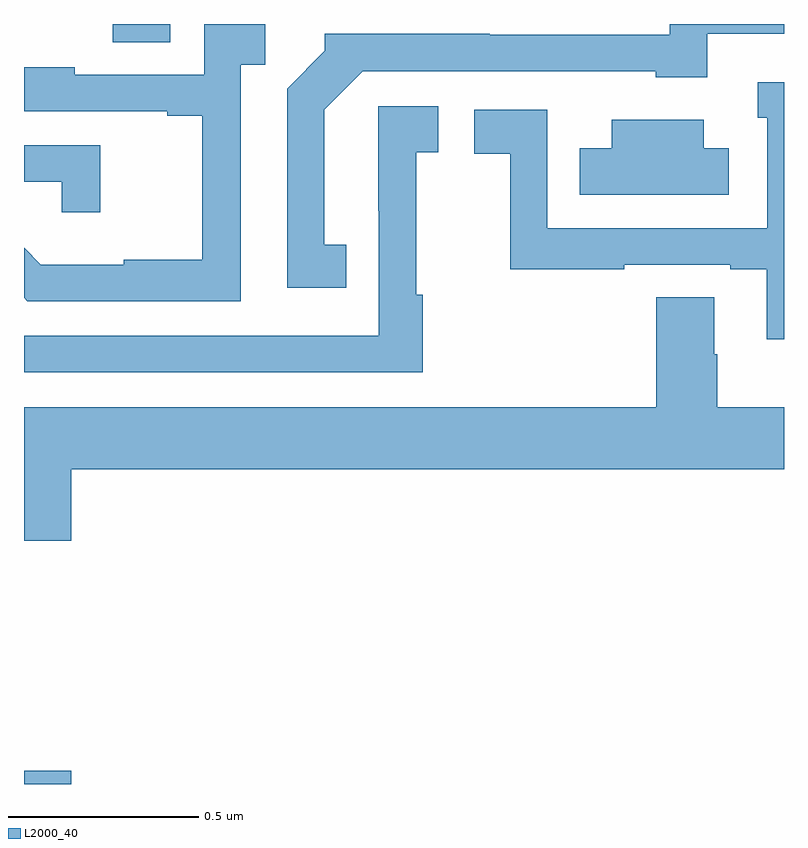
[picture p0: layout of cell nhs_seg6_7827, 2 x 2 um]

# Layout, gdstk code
import gdstk
lib = gdstk.Library(unit=1e-6, precision=1e-09)
def R(c, l, rs):  # rectangles x0, y0, x1, y1
    for r in rs: c.add(gdstk.rectangle(r[:2], r[2:], *l))
def P(c, l, *ps):  # polygons
    for p in ps: c.add(gdstk.Polygon(p, *l))
L2000_40 = (2000, 40)

nhs_seg6_7827 = lib.new_cell('nhs_seg6_7827')
R(nhs_seg6_7827, L2000_40, [(213,954.5,213.124,954.535), (213.233,956.452,213.385,956.5)])
P(nhs_seg6_7827, L2000_40, [(213.848,955.919),(213.79,955.919),(213.79,956.275),(213.891,956.376),(214.662,956.376),(214.662,956.36),(214.798,956.36),(214.798,956.475),(215,956.475),(215,956.5),(214.699,956.5),(214.699,956.472),(214.226,956.472),(214.226,956.474),(213.792,956.474),(213.792,956.429),(213.693,956.33),(213.693,955.806),(213.848,955.806)],
  [(213.57,956.393),(213.635,956.393),(213.635,956.5),(213.474,956.5),(213.474,956.367),(213.133,956.367),(213.133,956.386),(213,956.386),(213,956.271),(213.377,956.271),(213.377,956.259),(213.469,956.259),(213.469,955.879),(213.263,955.879),(213.263,955.867),(213.044,955.867),(213,955.911),(213,955.779),(213.009,955.77),(213.57,955.77)],
  [(215,956.347),(214.931,956.347),(214.931,956.253),(214.956,956.253),(214.956,955.962),(214.377,955.962),(214.377,956.274),(214.185,956.274),(214.185,956.158),(214.279,956.158),(214.279,955.854),(214.58,955.854),(214.58,955.866),(214.859,955.866),(214.859,955.854),(214.955,955.854),(214.955,955.671),(215,955.671)],
  [(214.049,955.787),(214.032,955.787),(214.032,956.163),(214.09,956.163),(214.09,956.284),(213.932,956.284),(213.932,956.008),(213.933,956.008),(213.933,955.68),(213,955.68),(213,955.584),(214.049,955.584)],
  [(214.855,956.173),(214.789,956.173),(214.789,956.248),(214.547,956.248),(214.547,956.173),(214.462,956.173),(214.462,956.051),(214.855,956.051)],
  [(213.2,956.181),(213,956.181),(213,956.085),(213.099,956.085),(213.099,956.004),(213.2,956.004)],
  [(213.124,955.328),(215,955.328),(215,955.492),(214.824,955.492),(214.824,955.631),(214.816,955.631),(214.816,955.781),(214.664,955.781),(214.664,955.492),(213,955.492),(213,955.14),(213.124,955.14)])

lib.write_gds('nhs_seg6_7827.gds')
